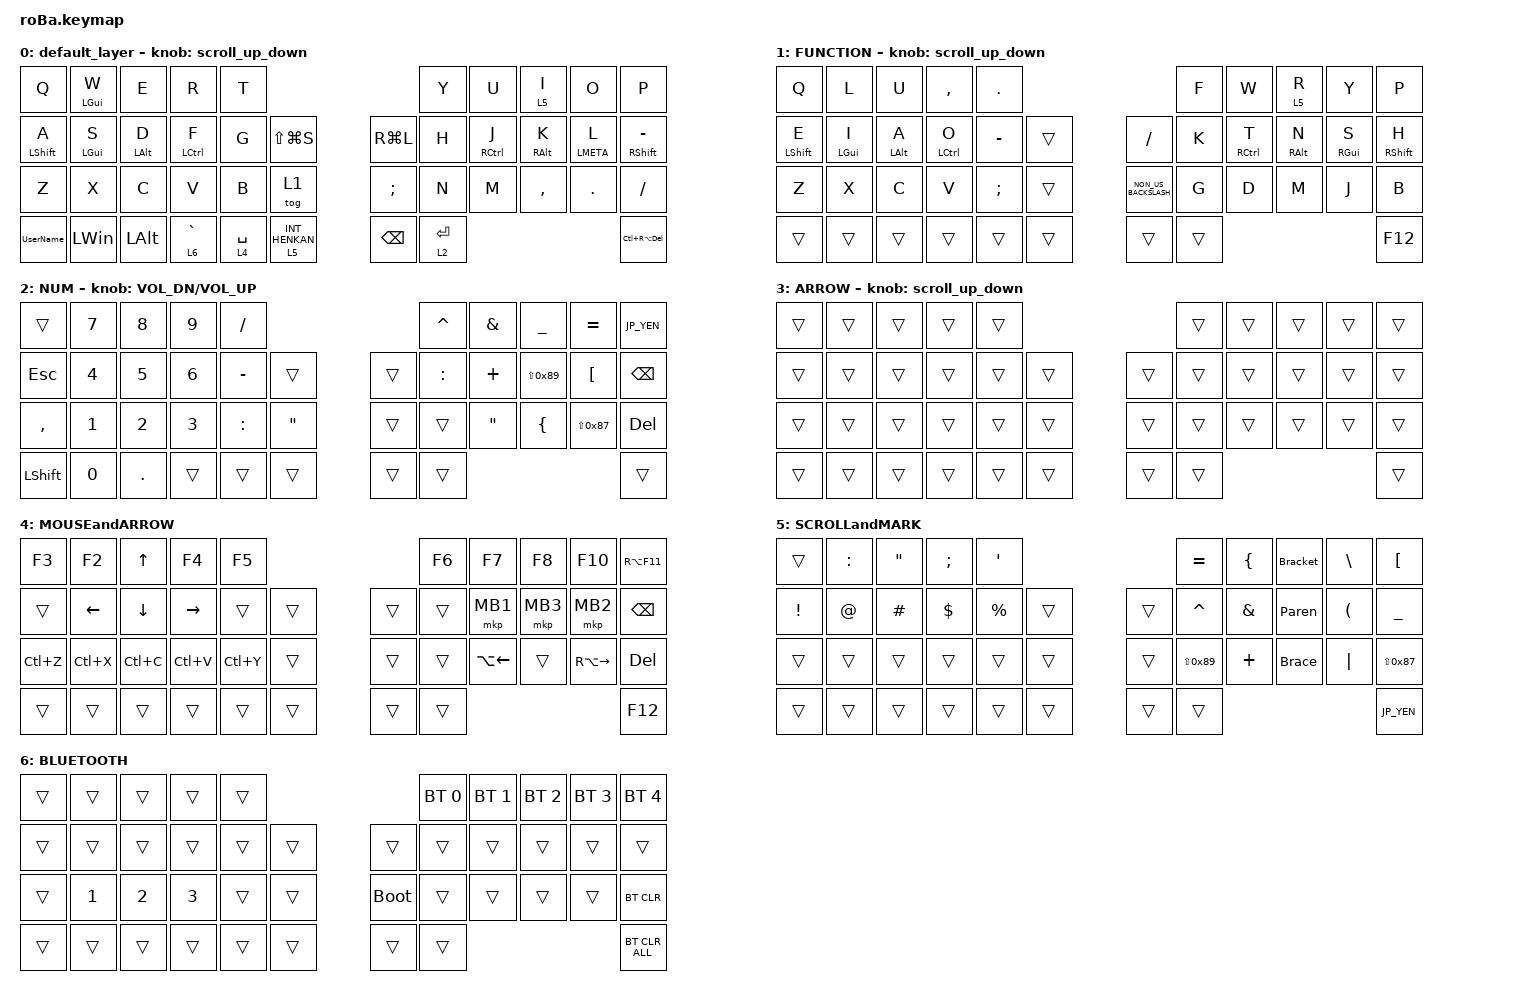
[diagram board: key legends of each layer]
#include <behaviors.dtsi>
#include <dt-bindings/zmk/bt.h>
#include <dt-bindings/zmk/keys.h>
#include <dt-bindings/zmk/pointing.h>

// OS設定を日本語キーボードのまま使用するための変換定義

#define JP_DQUOTE      AT               // "
#define JP_AMPERSAND   CARET            // &
#define JP_QUOTE       AMPERSAND        // '
#define JP_EQUAL       UNDER            // =
#define JP_CARET       EQUAL            // ^
#define JP_YEN         0x89             // ¥
#define JP_PLUS        COLON            // +
#define JP_TILDE       PLUS             // ~
#define JP_PIPE        LS(0x89)         // |
#define JP_AT          LEFT_BRACKET     // @
#define JP_COLON       SINGLE_QUOTE     // :
#define JP_ASTERISK    DOUBLE_QUOTES    // *
#define JP_BACKQUOTE   LEFT_BRACE       // `
#define JP_UNDERSCORE  LS(0x87)         // _
#define JP_LBRACKET    RIGHT_BRACKET    // [
#define JP_RBRACKET    BACKSLASH        // ]
#define JP_LPAREN      ASTERISK         // (
#define JP_RPAREN      LEFT_PARENTHESIS // )
#define JP_LBRACE      RIGHT_BRACE      // {
#define JP_RBRACE      PIPE             // }
#define JP_KANA        LANGUAGE_1       // かな
#define JP_EISU        LANGUAGE_2       // 英数
#define JP_HANZEN      GRAVE            // 半角/全角

// スクロール量を変更

#define ZMK_POINTING_DEFAULT_SCRL_VAL 100

&mt {
    flavor = "balanced";
    quick-tap-ms = <0>;
};

/ {
    combos {
        compatible = "zmk,combos";

        tab {
            bindings = <&kp TAB>;
            key-positions = <11 12>;
        };

        shift_tab {
            bindings = <&kp LS(TAB)>;
            key-positions = <12 13>;
        };

        left_click {
            bindings = <&mkp MB1>;
            key-positions = <18 19>;
        };

        scroll {
            bindings = <&mo 5>;
            key-positions = <19 20>;
        };

        right_click {
            bindings = <&mkp MB2>;
            key-positions = <20 21>;
        };

        Password {
            bindings = <&Password>;
            key-positions = <36 35>;
        };

        escape {
            bindings = <&kp ESCAPE>;
            key-positions = <0 10>;
        };

        plus {
            bindings = <&kp COLON>;
            key-positions = <23 24>;
        };

        asterisk {
            bindings = <&kp DOUBLE_QUOTES>;
            key-positions = <24 25>;
        };

        muhenkan {
            bindings = <&kp GRAVE>;
            key-positions = <10 22>;
        };
    };

    macros {
        to_layer_0: to_layer_0 {
            compatible = "zmk,behavior-macro-one-param";
            #binding-cells = <1>;
            bindings = <&to 0 &macro_param_1to1 &kp MACRO_PLACEHOLDER>;
            label = "TO_LAYER_0";
        };

        UserName: UserName {
            compatible = "zmk,behavior-macro";
            #binding-cells = <0>;
            bindings = <&none &kp LS(B) &kp LS(J) &kp N0 &kp N2 &kp LS(Z) &kp N0 &kp N6 &kp N2 &kp N1>;
            label = "USERNAME";
        };

        Paren: new_macro {
            compatible = "zmk,behavior-macro";
            #binding-cells = <0>;
            bindings = <&kp ASTERISK &kp LEFT_PARENTHESIS &kp LEFT_ARROW>;
            label = "NEW_MACRO";
        };

        Bracket: bracket {
            compatible = "zmk,behavior-macro";
            #binding-cells = <0>;
            bindings = <&kp RIGHT_BRACKET &kp BACKSLASH &kp LEFT_ARROW>;
            label = "BRACKET";
        };

        Brace: Brace {
            compatible = "zmk,behavior-macro";
            #binding-cells = <0>;
            bindings = <&kp RIGHT_BRACE &kp PIPE &kp LEFT_ARROW>;
            label = "BRACE";
        };

        Password: Password {
            compatible = "zmk,behavior-macro";
            #binding-cells = <0>;
            bindings = <&none &kp N &kp A &kp M &kp T &kp K &kp LEFT_BRACKET &kp N0 &kp N2>;
            label = "PASSWORD";
        };
    };

    behaviors {
        lt_to_layer_0: lt_to_layer_0 {
            compatible = "zmk,behavior-hold-tap";
            label = "LAYER_TAP_TO_0";
            bindings = <&mo>, <&to_layer_0>;

            #binding-cells = <2>;
            tapping-term-ms = <200>;
        };

        // 新しいスクロール動作の追加

        scroll_up_down: behavior_sensor_rotate_mouse_wheel_up_down {
            compatible = "zmk,behavior-sensor-rotate";
            #sensor-binding-cells = <0>;
            bindings = <&msc SCRL_DOWN>, <&msc SCRL_UP>;

            tap-ms = <20>;
        };
    };

    keymap {
        compatible = "zmk,keymap";

        default_layer {
            bindings = <
&kp Q         &mt LEFT_GUI W  &kp E           &kp R                   &kp T                                                                   &kp Y        &kp U                &lt 5 I          &kp O        &kp P
&mt LSHIFT A  &mt LEFT_GUI S  &mt LEFT_ALT D  &mt LEFT_CONTROL F      &kp G                   &kp LS(LG(S))                    &kp RG(L)      &kp H        &mt RIGHT_CONTROL J  &mt RIGHT_ALT K  &mt LMETA L  &mt RSHIFT MINUS
&kp Z         &kp X           &kp C           &kp V                   &kp B                   &tog 1                           &kp SEMICOLON  &kp N        &kp M                &kp COMMA        &kp DOT      &kp SLASH
&UserName     &kp LEFT_WIN    &kp LEFT_ALT    &lt_to_layer_0 6 GRAVE  &lt_to_layer_0 4 SPACE  &lt_to_layer_0 5 INT_HENKAN      &kp BACKSPACE  &lt 2 ENTER                                                     &kp LC(RA(DEL))
            >;

            sensor-bindings = <&scroll_up_down>;
        };

        FUNCTION {
            bindings = <
&kp Q             &kp L           &kp U           &kp COMMA           &kp PERIOD                                       &kp F   &kp W                &lt 5 R          &kp Y            &kp P
&mt LEFT_SHIFT E  &mt LEFT_GUI I  &mt LEFT_ALT A  &mt LEFT_CONTROL O  &kp MINUS      &trans      &kp SLASH             &kp K   &mt RIGHT_CONTROL T  &mt RIGHT_ALT N  &mt RIGHT_GUI S  &mt RIGHT_SHIFT H
&kp Z             &kp X           &kp C           &kp V               &kp SEMICOLON  &trans      &kp NON_US_BACKSLASH  &kp G   &kp D                &kp M            &kp J            &kp B
&trans            &trans          &trans          &trans              &trans         &trans      &trans                &trans                                                         &kp F12
            >;

            sensor-bindings = <&scroll_up_down>;
        };

        NUM {
            bindings = <
&trans          &kp NUMBER_7  &kp NUMBER_8  &kp NUMBER_9  &kp SLASH                                 &kp JP_AMPERSAND  &kp JP_QUOTE     &kp JP_EQUAL      &kp JP_CARET       &kp JP_YEN
&kp ESCAPE      &kp NUMBER_4  &kp NUMBER_5  &kp NUMBER_6  &kp MINUS    &trans               &trans  &kp JP_PLUS       &kp JP_TILDE     &kp JP_PIPE       &kp JP_AT          &kp BACKSPACE
&kp COMMA       &kp NUMBER_1  &kp NUMBER_2  &kp NUMBER_3  &kp JP_PLUS  &kp JP_ASTERISK      &trans  &trans            &kp JP_ASTERISK  &kp JP_BACKQUOTE  &kp JP_UNDERSCORE  &kp DELETE
&kp LEFT_SHIFT  &kp NUMBER_0  &kp PERIOD    &trans        &trans       &trans               &trans  &trans                                                                  &trans
            >;

            sensor-bindings = <&inc_dec_kp C_VOL_DN C_VOL_UP>;
        };

        ARROW {
            bindings = <
&trans  &trans  &trans  &trans  &trans                      &trans  &trans  &trans  &trans  &trans
&trans  &trans  &trans  &trans  &trans  &trans      &trans  &trans  &trans  &trans  &trans  &trans
&trans  &trans  &trans  &trans  &trans  &trans      &trans  &trans  &trans  &trans  &trans  &trans
&trans  &trans  &trans  &trans  &trans  &trans      &trans  &trans                          &trans
            >;

            sensor-bindings = <&scroll_up_down>;
        };

        MOUSEandARROW {
            bindings = <
&kp F3     &kp F2          &kp UP_ARROW    &kp F4           &kp F5                         &kp F6  &kp F7              &kp F8    &kp F10              &kp RA(F11)
&trans     &kp LEFT_ARROW  &kp DOWN_ARROW  &kp RIGHT_ARROW  &trans     &trans      &trans  &trans  &mkp MB1            &mkp MB3  &mkp MB2             &kp BACKSPACE
&kp LC(Z)  &kp LC(X)       &kp LC(C)       &kp LC(V)        &kp LC(Y)  &trans      &trans  &trans  &kp LA(LEFT_ARROW)  &trans    &kp RA(RIGHT_ARROW)  &kp DELETE
&trans     &trans          &trans          &trans           &trans     &trans      &trans  &trans                                                     &kp F12
            >;
        };

        SCROLLandMARK {
            bindings = <
&trans           &kp JP_PLUS    &kp JP_ASTERISK  &kp SEMICOLON  &kp JP_COLON                      &kp JP_CARET      &kp JP_BACKQUOTE  &Bracket  &kp JP_RBRACKET  &kp JP_AT
&kp EXCLAMATION  &kp JP_DQUOTE  &kp HASH         &kp DOLLAR     &kp PERCENT   &trans      &trans  &kp JP_AMPERSAND  &kp JP_QUOTE      &Paren    &kp JP_RPAREN    &kp JP_EQUAL
&trans           &trans         &trans           &trans         &trans        &trans      &trans  &kp JP_PIPE       &kp JP_TILDE      &Brace    &kp JP_RBRACE    &kp JP_UNDERSCORE
&trans           &trans         &trans           &trans         &trans        &trans      &trans  &trans                                                         &kp JP_YEN
            >;
        };

        BLUETOOTH {
            bindings = <
&trans  &trans        &trans        &trans        &trans                           &bt BT_SEL 0  &bt BT_SEL 1  &bt BT_SEL 2  &bt BT_SEL 3  &bt BT_SEL 4
&trans  &trans        &trans        &trans        &trans  &trans      &trans       &trans        &trans        &trans        &trans        &trans
&trans  &kp NUMBER_1  &kp NUMBER_2  &kp NUMBER_3  &trans  &trans      &bootloader  &trans        &trans        &trans        &trans        &bt BT_CLR
&trans  &trans        &trans        &trans        &trans  &trans      &trans       &trans                                                  &bt BT_CLR_ALL
            >;
        };
    };
};
